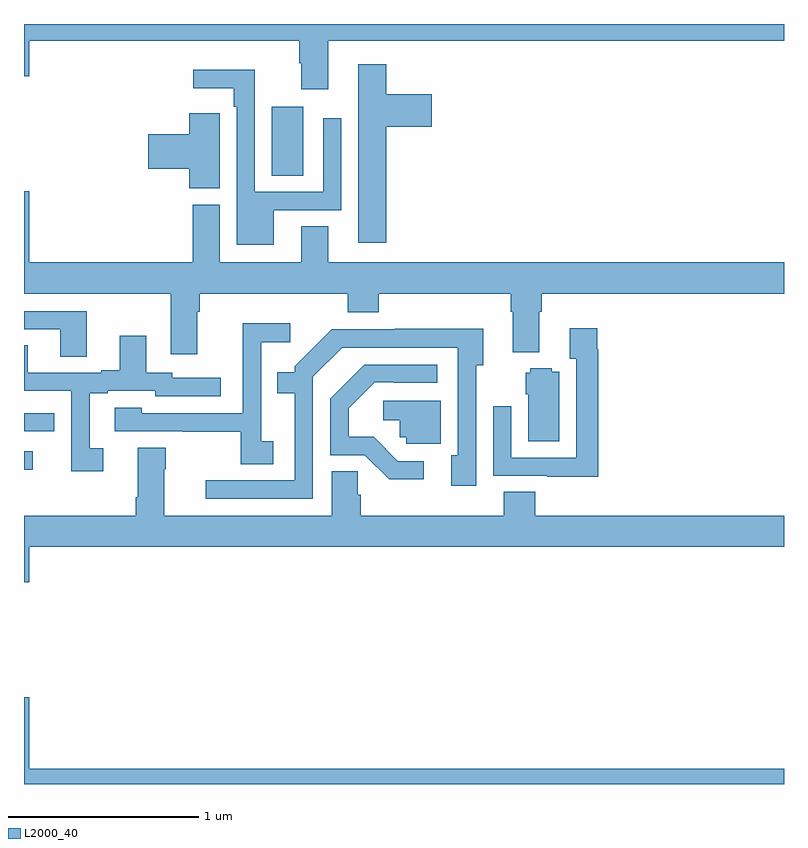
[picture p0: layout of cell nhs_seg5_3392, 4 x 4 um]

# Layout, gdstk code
import gdstk
lib = gdstk.Library(unit=1e-6, precision=1e-09)
def R(c, l, rs):  # rectangles x0, y0, x1, y1
    for r in rs: c.add(gdstk.rectangle(r[:2], r[2:], *l))
def P(c, l, *ps):  # polygons
    for p in ps: c.add(gdstk.Polygon(p, *l))
L2000_40 = (2000, 40)

nhs_seg5_3392 = lib.new_cell('nhs_seg5_3392')
R(nhs_seg5_3392, L2000_40, [(309,902.452,309.046,902.55), (310.304,904,310.471,904.363)])
P(nhs_seg5_3392, L2000_40, [(313,904.799),(309,904.799),(309,904.524),(309.028,904.524),(309.028,904.712),(310.448,904.712),(310.448,904.592),(310.46,904.592),(310.46,904.455),(310.6,904.455),(310.6,904.712),(313,904.712)],
  [(310.907,904.259),(311.146,904.259),(311.146,904.429),(310.907,904.429),(310.907,904.588),(310.76,904.588),(310.76,903.648),(310.907,903.648)],
  [(310.315,903.819),(310.671,903.819),(310.671,904.303),(310.575,904.303),(310.575,903.915),(310.215,903.915),(310.215,904.558),(309.891,904.558),(309.891,904.46),(310.103,904.46),(310.103,904.364),(310.119,904.364),(310.119,903.638),(310.315,903.638)],
  [(310.03,904.217),(310.029,904.217),(310.029,904.33),(309.869,904.33),(309.869,904.22),(309.654,904.22),(309.654,904.037),(309.869,904.037),(309.869,903.934),(310.03,903.934)],
  [(310.6,903.734),(310.46,903.734),(310.46,903.544),(310.03,903.544),(310.03,903.849),(309.887,903.849),(309.887,903.544),(309.028,903.544),(309.028,903.919),(309,903.919),(309,903.38),(309.773,903.38),(309.773,903.06),(309.913,903.06),(309.913,903.284),(309.926,903.284),(309.926,903.38),(310.703,903.38),(310.703,903.281),(310.868,903.281),(310.868,903.38),(311.561,903.38),(311.561,903.284),(311.573,903.284),(311.573,903.071),(311.713,903.071),(311.713,903.284),(311.726,903.284),(311.726,903.38),(313,903.38),(313,903.544),(310.6,903.544)],
  [(309.331,903.288),(309,903.288),(309,903.192),(309.191,903.192),(309.191,903.049),(309.331,903.049)],
  [(310.312,902.604),(310.248,902.604),(310.248,903.125),(310.402,903.125),(310.402,903.223),(310.15,903.223),(310.15,902.984),(310.152,902.984),(310.152,902.751),(309.621,902.751),(309.621,902.779),(309.477,902.779),(309.477,902.655),(309.835,902.655),(309.835,902.653),(310.14,902.653),(310.14,902.482),(310.312,902.482)],
  [(312.023,903.086),(312.016,903.086),(312.016,903.199),(311.873,903.199),(311.873,903.038),(311.907,903.038),(311.907,902.517),(311.565,902.517),(311.565,902.788),(311.469,902.788),(311.469,902.421),(311.753,902.421),(311.753,902.417),(312.023,902.417)],
  [(310.521,902.943),(310.674,903.096),(311.283,903.096),(311.283,902.53),(311.249,902.53),(311.249,902.37),(311.379,902.37),(311.379,903.002),(311.416,903.002),(311.416,903.194),(310.951,903.194),(310.951,903.192),(310.62,903.192),(310.425,902.997),(310.425,902.965),(310.333,902.965),(310.333,902.856),(310.424,902.856),(310.424,902.397),(309.957,902.397),(309.957,902.301),(310.521,902.301)],
  [(309.418,902.565),(309.346,902.565),(309.346,902.856),(309.442,902.856),(309.442,902.868),(309.69,902.868),(309.69,902.841),(310.036,902.841),(310.036,902.937),(309.78,902.937),(309.78,902.964),(309.643,902.964),(309.643,903.157),(309.503,903.157),(309.503,902.977),(309.407,902.977),(309.407,902.964),(309.019,902.964),(309.019,903.107),(309,903.107),(309,902.868),(309.249,902.868),(309.249,902.445),(309.418,902.445)],
  [(311.104,902.499),(310.968,902.499),(310.841,902.626),(310.708,902.626),(310.708,902.776),(310.845,902.913),(310.945,902.913),(310.945,902.91),(311.176,902.91),(311.176,903.006),(310.79,903.006),(310.611,902.827),(310.611,902.529),(310.794,902.529),(310.922,902.402),(311.104,902.402)],
  [(311.818,902.968),(311.778,902.968),(311.778,902.986),(311.664,902.986),(311.664,902.964),(311.642,902.964),(311.642,902.85),(311.654,902.85),(311.654,902.602),(311.818,902.602)],
  [(311.194,902.817),(310.89,902.817),(310.89,902.714),(310.977,902.714),(310.977,902.625),(311.013,902.625),(311.013,902.589),(311.194,902.589)],
  [(309.16,902.75),(309.047,902.75),(309.047,902.751),(309,902.751),(309,902.655),(309.16,902.655)],
  [(309.028,902.048),(313,902.048),(313,902.212),(311.69,902.212),(311.69,902.336),(311.525,902.336),(311.525,902.212),(310.772,902.212),(310.772,902.322),(310.757,902.322),(310.757,902.444),(310.619,902.444),(310.619,902.212),(309.739,902.212),(309.739,902.456),(309.747,902.456),(309.747,902.569),(309.599,902.569),(309.599,902.308),(309.587,902.308),(309.587,902.212),(309,902.212),(309,901.86),(309.028,901.86)],
  [(313,900.88),(309.028,900.88),(309.028,901.255),(309,901.255),(309,900.799),(313,900.799)])

lib.write_gds('nhs_seg5_3392.gds')
